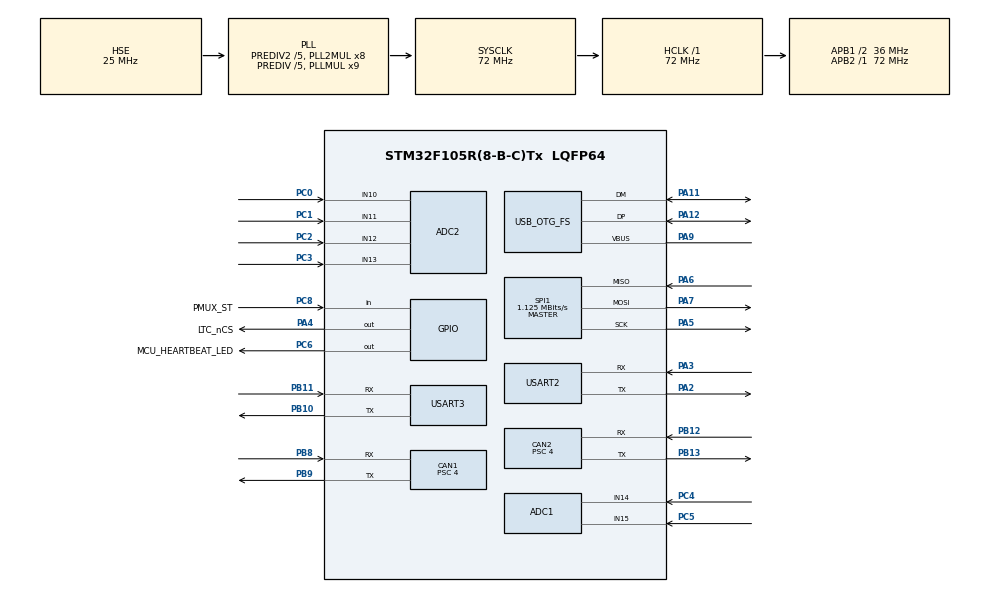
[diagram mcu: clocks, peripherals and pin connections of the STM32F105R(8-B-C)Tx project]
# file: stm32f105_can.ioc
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ADC1.Channel-1\#ChannelRegularConversion=ADC_CHANNEL_14
ADC1.NbrOfConversionFlag=1
ADC1.Rank-1\#ChannelRegularConversion=1
ADC1.SamplingTime-1\#ChannelRegularConversion=ADC_SAMPLETIME_1CYCLE_5
ADC1.master=1
ADC2.Channel-0\#ChannelRegularConversion=ADC_CHANNEL_10
ADC2.NbrOfConversionFlag=1
ADC2.Rank-0\#ChannelRegularConversion=1
ADC2.SamplingTime-0\#ChannelRegularConversion=ADC_SAMPLETIME_1CYCLE_5
CAN1.ABOM=ENABLE
CAN1.BS1=CAN_BS1_13TQ
CAN1.BS2=CAN_BS2_4TQ
CAN1.CalculateBaudRate=500000
CAN1.CalculateTimeBit=2000
CAN1.CalculateTimeQuantum=111.11111111111111
CAN1.NART=ENABLE
CAN1.Prescaler=4
CAN2.ABOM=ENABLE
CAN2.BS1=CAN_BS1_13TQ
CAN2.BS2=CAN_BS2_4TQ
CAN2.CalculateBaudRate=500000
CAN2.CalculateTimeBit=2000
CAN2.CalculateTimeQuantum=111.11111111111111
CAN2.NART=ENABLE
CAN2.Prescaler=4
Mcu.Family=STM32F1
Mcu.Name=STM32F105R(8-B-C)Tx
Mcu.Package=LQFP64
NVIC.OTG_FS_IRQn=true\:0\:0\:false\:false\:true\:false\:true\:true
NVIC.PriorityGroup=NVIC_PRIORITYGROUP_4
PA0-WKUP.GPIO_Label=MCU_USB_INT
PA0-WKUP.Mode=SYS_WakeUp0
PA0-WKUP.Signal=SYS_WKUP
PA11.Mode=Device_Only
PA11.Signal=USB_OTG_FS_DM
PA12.Mode=Device_Only
PA12.Signal=USB_OTG_FS_DP
PA13.Mode=Serial_Wire
PA13.Signal=SYS_JTMS-SWDIO
PA14.Mode=Serial_Wire
PA14.Signal=SYS_JTCK-SWCLK
PA2.Mode=Asynchronous
PA2.Signal=USART2_TX
PA3.Mode=Asynchronous
PA3.Signal=USART2_RX
PA4.GPIO_Label=LTC_nCS
PA4.Signal=GPIO_Output
PA5.Mode=Full_Duplex_Master
PA5.Signal=SPI1_SCK
PA6.Mode=Full_Duplex_Master
PA6.Signal=SPI1_MISO
PA7.Mode=Full_Duplex_Master
PA7.Signal=SPI1_MOSI
PA9.Mode=Activate_VBUS
PA9.Signal=USB_OTG_FS_VBUS
PB10.Mode=Asynchronous
PB10.Signal=USART3_TX
PB11.Mode=Asynchronous
PB11.Signal=USART3_RX
PB12.Mode=CAN_Activate
PB12.Signal=CAN2_RX
PB13.Mode=CAN_Activate
PB13.Signal=CAN2_TX
PB8.Mode=CAN_Activate
PB8.Signal=CAN1_RX
PB9.Mode=CAN_Activate
PB9.Signal=CAN1_TX
PC0.Signal=ADCx_IN10
PC1.Signal=ADCx_IN11
PC14-OSC32_IN.Mode=LSE-External-Oscillator
PC14-OSC32_IN.Signal=RCC_OSC32_IN
PC15-OSC32_OUT.Mode=LSE-External-Oscillator
PC15-OSC32_OUT.Signal=RCC_OSC32_OUT
PC2.Signal=ADCx_IN12
PC3.Signal=ADCx_IN13
PC4.Signal=ADCx_IN14
PC5.Signal=ADCx_IN15
PC6.GPIO_Label=MCU_HEARTBEAT_LED
PC6.Signal=GPIO_Output
PC8.GPIO_Label=PMUX_ST
PC8.Signal=GPIO_Input
PD0-OSC_IN.Mode=HSE-External-Oscillator
PD0-OSC_IN.Signal=RCC_OSC_IN
PD1-OSC_OUT.Mode=HSE-External-Oscillator
PD1-OSC_OUT.Signal=RCC_OSC_OUT
ProjectManager.HeapSize=0x200
ProjectManager.StackSize=0x400
ProjectManager.TargetToolchain=STM32CubeIDE
RCC.ADCPresc=RCC_ADCPCLK2_DIV6
RCC.AHBFreq_Value=72000000
RCC.APB1CLKDivider=RCC_HCLK_DIV2
RCC.APB1Freq_Value=36000000
RCC.APB1TimFreq_Value=72000000
RCC.APB2Freq_Value=72000000
RCC.APB2TimFreq_Value=72000000
RCC.HCLKFreq_Value=72000000
RCC.HSEDivPLL=RCC_HSE_PREDIV_DIV5
RCC.HSE_VALUE=25000000
RCC.PLLMUL=RCC_PLL_MUL9
RCC.PLLSourceVirtual=RCC_PLLSOURCE_HSE
RCC.Prediv1Source=RCC_PREDIV1_SOURCE_PLL2
RCC.Prediv2=RCC_HSE_PREDIV2_DIV5
RCC.SYSCLKFreq_VALUE=72000000
RCC.SYSCLKSource=RCC_SYSCLKSOURCE_PLLCLK
RCC.USBFreq_Value=48000000
SH.ADCx_IN10.0=ADC2_IN10,IN10
SH.ADCx_IN11.0=ADC2_IN11,IN11
SH.ADCx_IN12.0=ADC2_IN12,IN12
SH.ADCx_IN13.0=ADC2_IN13,IN13
SH.ADCx_IN14.0=ADC1_IN14,IN14
SH.ADCx_IN15.0=ADC1_IN15,IN15
SPI1.BaudRatePrescaler=SPI_BAUDRATEPRESCALER_64
SPI1.CalculateBaudRate=1.125 MBits/s
SPI1.Direction=SPI_DIRECTION_2LINES
SPI1.Mode=SPI_MODE_MASTER
SPI1.VirtualType=VM_MASTER
TIM7.AutoReloadPreload=TIM_AUTORELOAD_PRELOAD_ENABLE
TIM7.Period=65535
TIM7.Prescaler=0
USART2.VirtualMode=VM_ASYNC
USART3.VirtualMode=VM_ASYNC
USB_DEVICE.CLASS_NAME_FS=CDC
USB_DEVICE.VirtualMode=Cdc
USB_DEVICE.VirtualModeFS=Cdc_FS
USB_OTG_FS.VirtualMode=Device_Only
VP_TIM7_VS_ClockSourceINT.Mode=Enable_Timer
VP_USB_DEVICE_VS_USB_DEVICE_CDC_FS.Mode=CDC_FS
board=custom

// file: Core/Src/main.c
/* USER CODE BEGIN Header */
/**
  ******************************************************************************
  * @file           : main.c
  * @brief          : Main program body
  ******************************************************************************
  * @attention
  *
  * Copyright (c) 2023 STMicroelectronics.
  * All rights reserved.
  *
  * This software is licensed under terms that can be found in the LICENSE file
  * in the root directory of this software component.
  * If no LICENSE file comes with this software, it is provided AS-IS.
  *
  ******************************************************************************
  */
/* USER CODE END Header */
#include "main.h"
#include "adc.h"
#include "can.h"
#include "spi.h"
#include "tim.h"
#include "usart.h"
#include "usb_device.h"
#include "gpio.h"

/* USER CODE BEGIN Includes */
#include "string.h"
#include "ltc6813.h"

/* USER CODE END Includes */

/* USER CODE BEGIN PD */
#define NUM_DEVICES_DEFAULT					2	//2 slave boards
#define NUM_SERIES_GROUPS_PER_MOD_DEFAULT	12	//12 in series
#define NUM_SERIES_GROUPS_TOTAL_DEFAULT		(NUM_DEVICES_DEFAULT * NUM_SERIES_GROUPS_PER_MOD_DEFAULT) //24 series groups

#define LTC_DELAY_MS			1000 //500ms update delay
#define LED_HEARTBEAT_DELAY_MS	500 //500ms update delay
#define CAN1_DELAY_MS			100 //100ms update delays

/* USER CODE END PD */

/* USER CODE BEGIN PV */

typedef struct _TimerPacket {
	uint32_t 		ts_prev;	//Previous timestamp
	uint32_t 		ts_curr; 	//Current timestamp
	uint32_t		delay;		//Amount to delay
} TimerPacket;

/* USER CODE END PV */

void SystemClock_Config(void);
/* USER CODE BEGIN PFP */

void TimerPacket_Init(TimerPacket *tp, uint32_t delay);

//Returns 1 at every tp->delay interval
uint8_t TimerPacket_FixedPulse(TimerPacket *tp);

//Set Heartbeat LED to LOW
void LED_Heartbeat_Init(void);

//Toggle Heartbeat LED
void LED_Heartbeat_Toggle(void);

/* USER CODE END PFP */

int main(void)
{
  /* USER CODE BEGIN 1 */
  TimerPacket tp_led_heartbeat;
  TimerPacket tp_ltc;
  TimerPacket tp_can1;

  uint16_t read_val[NUM_SERIES_GROUPS_TOTAL_DEFAULT]; //To hold all series groups' data

  /* USER CODE END 1 */

  /* MCU Configuration--------------------------------------------------------*/

  /* Reset of all peripherals, Initializes the Flash interface and the Systick. */
  HAL_Init();

  /* Configure the system clock */
  SystemClock_Config();

  /* Initialize all configured peripherals */
  MX_GPIO_Init();
  MX_ADC1_Init();
  MX_ADC2_Init();
  MX_CAN1_Init();
  MX_CAN2_Init();
  MX_TIM7_Init();
  MX_SPI1_Init();
  MX_USART2_UART_Init();
  MX_USART3_UART_Init();
  MX_USB_DEVICE_Init();
  /* USER CODE BEGIN 2 */

  //Start timer
  TimerPacket_Init(&tp_led_heartbeat, LED_HEARTBEAT_DELAY_MS);
  TimerPacket_Init(&tp_ltc, LTC_DELAY_MS);
  TimerPacket_Init(&tp_can1, CAN1_DELAY_MS);

  //Set Heartbeat LED initial value to LOW
  LED_Heartbeat_Init();

  //Pull SPI1 nCS HIGH (deselect)
  LTC_nCS_High();

  LTC_Set_Num_Devices(NUM_DEVICES_DEFAULT);
  LTC_Set_Num_Series_Groups(NUM_SERIES_GROUPS_PER_MOD_DEFAULT);

  uint8_t startErr = (uint8_t)CAN1_Start();

	uint32_t testTxMailbox;
	uint8_t msg[8];

	msg[0] = 0xde;
	msg[1] = 0xad;
	msg[2] = 0xbe;
	msg[3] = 0xef;

	CAN_TxHeaderTypeDef testTx;
	testTx.IDE = CAN_ID_STD;
	testTx.StdId = 0x123;
	testTx.RTR = CAN_RTR_DATA;
	testTx.DLC = 4;
  /* USER CODE END 2 */

  /* Infinite loop */
  while (1)
  {

    /* USER CODE BEGIN 3 */

	  	//LED HEARTBEAT
		if (TimerPacket_FixedPulse(&tp_led_heartbeat)) { LED_Heartbeat_Toggle(); }

		//CAN TX TEST
		if (TimerPacket_FixedPulse(&tp_can1)) {
			uint8_t err;
			char serial_buf[32];

			//if (CAN1_GetTxMailboxesFreeLevel()) {
				err = (uint8_t)CAN1_Tx(&testTx, msg, &testTxMailbox);

				sprintf(serial_buf, "0x%X 0x%X 0x%lX\n", startErr, err, CAN1_CheckError());

				USB_Transmit(serial_buf, strlen(serial_buf));
			//}
		}

		//READ CELL VOLTAGE
		if (TimerPacket_FixedPulse(&tp_ltc)) {
			/*
			char buf[20];
			char out_buf[1024] = "";
			char char_to_str[2];

			LTC_ReadRawCellVoltages((uint16_t *)read_val);

			char_to_str[0] = '\n';
			char_to_str[1] = '\0';

			for (uint8_t i = 0; i < NUM_SERIES_GROUPS_TOTAL_DEFAULT; i++) {
				sprintf(buf, "C%u:%u/1000 V", i+1, read_val[i]);
				strncat(out_buf, buf, 20);
				strncat(out_buf, char_to_str, 3);
			}
			strncat(out_buf, char_to_str, 3);

			USB_Transmit(out_buf, strlen(out_buf));
			*/
		}
  }
  /* USER CODE END 3 */
}

void SystemClock_Config(void)
{
  RCC_OscInitTypeDef RCC_OscInitStruct = {0};
  RCC_ClkInitTypeDef RCC_ClkInitStruct = {0};
  RCC_PeriphCLKInitTypeDef PeriphClkInit = {0};

  /** Initializes the RCC Oscillators according to the specified parameters
  * in the RCC_OscInitTypeDef structure.
  */
  RCC_OscInitStruct.OscillatorType = RCC_OSCILLATORTYPE_HSE;
  RCC_OscInitStruct.HSEState = RCC_HSE_ON;
  RCC_OscInitStruct.HSEPredivValue = RCC_HSE_PREDIV_DIV5;
  RCC_OscInitStruct.HSIState = RCC_HSI_ON;
  RCC_OscInitStruct.Prediv1Source = RCC_PREDIV1_SOURCE_PLL2;
  RCC_OscInitStruct.PLL.PLLState = RCC_PLL_ON;
  RCC_OscInitStruct.PLL.PLLSource = RCC_PLLSOURCE_HSE;
  RCC_OscInitStruct.PLL.PLLMUL = RCC_PLL_MUL9;
  RCC_OscInitStruct.PLL2.PLL2State = RCC_PLL2_ON;
  RCC_OscInitStruct.PLL2.PLL2MUL = RCC_PLL2_MUL8;
  RCC_OscInitStruct.PLL2.HSEPrediv2Value = RCC_HSE_PREDIV2_DIV5;
  if (HAL_RCC_OscConfig(&RCC_OscInitStruct) != HAL_OK)
  {
    Error_Handler();
  }

  /** Initializes the CPU, AHB and APB buses clocks
  */
  RCC_ClkInitStruct.ClockType = RCC_CLOCKTYPE_HCLK|RCC_CLOCKTYPE_SYSCLK
                              |RCC_CLOCKTYPE_PCLK1|RCC_CLOCKTYPE_PCLK2;
  RCC_ClkInitStruct.SYSCLKSource = RCC_SYSCLKSOURCE_PLLCLK;
  RCC_ClkInitStruct.AHBCLKDivider = RCC_SYSCLK_DIV1;
  RCC_ClkInitStruct.APB1CLKDivider = RCC_HCLK_DIV2;
  RCC_ClkInitStruct.APB2CLKDivider = RCC_HCLK_DIV1;

  if (HAL_RCC_ClockConfig(&RCC_ClkInitStruct, FLASH_LATENCY_2) != HAL_OK)
  {
    Error_Handler();
  }
  PeriphClkInit.PeriphClockSelection = RCC_PERIPHCLK_ADC|RCC_PERIPHCLK_USB;
  PeriphClkInit.AdcClockSelection = RCC_ADCPCLK2_DIV6;
  PeriphClkInit.UsbClockSelection = RCC_USBCLKSOURCE_PLL_DIV3;
  if (HAL_RCCEx_PeriphCLKConfig(&PeriphClkInit) != HAL_OK)
  {
    Error_Handler();
  }

  /** Configure the Systick interrupt time
  */
  __HAL_RCC_PLLI2S_ENABLE();
}

/* USER CODE BEGIN 4 */

//Initialize struct values
void TimerPacket_Init(TimerPacket *tp, uint32_t delay)
{
	tp->ts_prev 	= 0;		//Init to 0
	tp->ts_curr 	= 0; 		//Init to 0
	tp->delay		= delay;	//Init to user value
}

//tp->delay = update after X ms
uint8_t TimerPacket_FixedPulse(TimerPacket *tp)
{
	tp->ts_curr = HAL_GetTick(); //Record current timestamp

	if (tp->ts_curr - tp->ts_prev > tp->delay) {
		tp->ts_prev = tp->ts_curr; //Update prev timestamp to current
		return 1; //Enact event (time interval is a go)
	}
	return 0; //Do not enact event
}

void LED_Heartbeat_Init(void) {
	HAL_GPIO_WritePin(MCU_HEARTBEAT_LED_GPIO_Port, MCU_HEARTBEAT_LED_Pin, GPIO_PIN_RESET); //Set GPIO LOW
}

void LED_Heartbeat_Toggle(void) {
	HAL_GPIO_TogglePin(MCU_HEARTBEAT_LED_GPIO_Port, MCU_HEARTBEAT_LED_Pin); //Set GPIO LOW
}

/* USER CODE END 4 */

void Error_Handler(void)
{
  __disable_irq();
  while (1)
  {
  }
}
